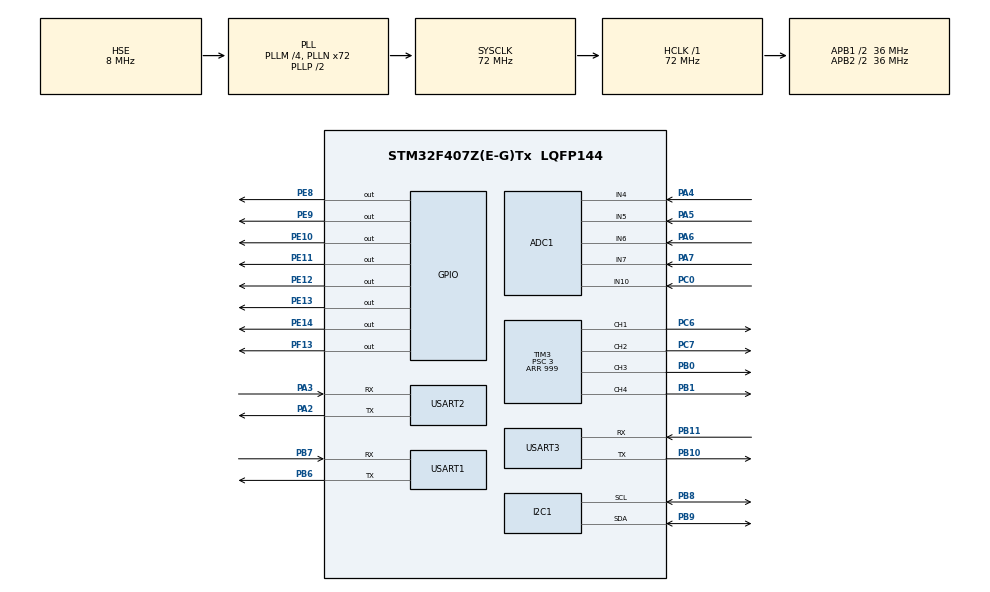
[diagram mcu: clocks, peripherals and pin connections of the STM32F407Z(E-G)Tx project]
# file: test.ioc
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ADC1.Channel-1\#ChannelRegularConversion=ADC_CHANNEL_4
ADC1.Channel-2\#ChannelRegularConversion=ADC_CHANNEL_5
ADC1.Channel-3\#ChannelRegularConversion=ADC_CHANNEL_6
ADC1.Channel-4\#ChannelRegularConversion=ADC_CHANNEL_7
ADC1.Channel-5\#ChannelRegularConversion=ADC_CHANNEL_10
ADC1.ClockPrescaler=ADC_CLOCK_SYNC_PCLK_DIV4
ADC1.ContinuousConvMode=ENABLE
ADC1.DMAContinuousRequests=ENABLE
ADC1.NbrOfConversion=5
ADC1.NbrOfConversionFlag=1
ADC1.Rank-1\#ChannelRegularConversion=1
ADC1.Rank-2\#ChannelRegularConversion=2
ADC1.Rank-3\#ChannelRegularConversion=3
ADC1.Rank-4\#ChannelRegularConversion=4
ADC1.Rank-5\#ChannelRegularConversion=5
ADC1.SamplingTime-1\#ChannelRegularConversion=ADC_SAMPLETIME_3CYCLES
ADC1.SamplingTime-2\#ChannelRegularConversion=ADC_SAMPLETIME_3CYCLES
ADC1.SamplingTime-3\#ChannelRegularConversion=ADC_SAMPLETIME_3CYCLES
ADC1.SamplingTime-4\#ChannelRegularConversion=ADC_SAMPLETIME_3CYCLES
ADC1.SamplingTime-5\#ChannelRegularConversion=ADC_SAMPLETIME_3CYCLES
ADC1.ScanConvMode=ENABLE
ADC1.master=1
Dma.ADC1.0.Direction=DMA_PERIPH_TO_MEMORY
Dma.ADC1.0.FIFOMode=DMA_FIFOMODE_ENABLE
Dma.ADC1.0.FIFOThreshold=DMA_FIFO_THRESHOLD_FULL
Dma.ADC1.0.Instance=DMA2_Stream0
Dma.ADC1.0.MemBurst=DMA_MBURST_SINGLE
Dma.ADC1.0.MemDataAlignment=DMA_MDATAALIGN_HALFWORD
Dma.ADC1.0.MemInc=DMA_MINC_ENABLE
Dma.ADC1.0.Mode=DMA_CIRCULAR
Dma.ADC1.0.PeriphBurst=DMA_PBURST_SINGLE
Dma.ADC1.0.PeriphDataAlignment=DMA_PDATAALIGN_HALFWORD
Dma.ADC1.0.PeriphInc=DMA_PINC_DISABLE
Dma.ADC1.0.Priority=DMA_PRIORITY_LOW
Dma.Request0=ADC1
Dma.Request1=USART1_RX
Dma.Request2=USART1_TX
Dma.Request3=USART3_RX
Dma.Request4=USART3_TX
Dma.Request5=USART2_RX
Dma.Request6=USART2_TX
Dma.USART1_RX.1.Direction=DMA_PERIPH_TO_MEMORY
Dma.USART1_RX.1.FIFOMode=DMA_FIFOMODE_DISABLE
Dma.USART1_RX.1.Instance=DMA2_Stream2
Dma.USART1_RX.1.MemDataAlignment=DMA_MDATAALIGN_BYTE
Dma.USART1_RX.1.MemInc=DMA_MINC_ENABLE
Dma.USART1_RX.1.Mode=DMA_NORMAL
Dma.USART1_RX.1.PeriphDataAlignment=DMA_PDATAALIGN_BYTE
Dma.USART1_RX.1.PeriphInc=DMA_PINC_DISABLE
Dma.USART1_RX.1.Priority=DMA_PRIORITY_LOW
Dma.USART1_TX.2.Direction=DMA_MEMORY_TO_PERIPH
Dma.USART1_TX.2.FIFOMode=DMA_FIFOMODE_DISABLE
Dma.USART1_TX.2.Instance=DMA2_Stream7
Dma.USART1_TX.2.MemDataAlignment=DMA_MDATAALIGN_BYTE
Dma.USART1_TX.2.MemInc=DMA_MINC_ENABLE
Dma.USART1_TX.2.Mode=DMA_NORMAL
Dma.USART1_TX.2.PeriphDataAlignment=DMA_PDATAALIGN_BYTE
Dma.USART1_TX.2.PeriphInc=DMA_PINC_DISABLE
Dma.USART1_TX.2.Priority=DMA_PRIORITY_LOW
Dma.USART2_RX.5.Direction=DMA_PERIPH_TO_MEMORY
Dma.USART2_RX.5.FIFOMode=DMA_FIFOMODE_DISABLE
Dma.USART2_RX.5.Instance=DMA1_Stream5
Dma.USART2_RX.5.MemDataAlignment=DMA_MDATAALIGN_BYTE
Dma.USART2_RX.5.MemInc=DMA_MINC_ENABLE
Dma.USART2_RX.5.Mode=DMA_NORMAL
Dma.USART2_RX.5.PeriphDataAlignment=DMA_PDATAALIGN_BYTE
Dma.USART2_RX.5.PeriphInc=DMA_PINC_DISABLE
Dma.USART2_RX.5.Priority=DMA_PRIORITY_LOW
Dma.USART2_TX.6.Direction=DMA_MEMORY_TO_PERIPH
Dma.USART2_TX.6.FIFOMode=DMA_FIFOMODE_DISABLE
Dma.USART2_TX.6.Instance=DMA1_Stream6
Dma.USART2_TX.6.MemDataAlignment=DMA_MDATAALIGN_BYTE
Dma.USART2_TX.6.MemInc=DMA_MINC_ENABLE
Dma.USART2_TX.6.Mode=DMA_NORMAL
Dma.USART2_TX.6.PeriphDataAlignment=DMA_PDATAALIGN_BYTE
Dma.USART2_TX.6.PeriphInc=DMA_PINC_DISABLE
Dma.USART2_TX.6.Priority=DMA_PRIORITY_LOW
Dma.USART3_RX.3.Direction=DMA_PERIPH_TO_MEMORY
Dma.USART3_RX.3.FIFOMode=DMA_FIFOMODE_DISABLE
Dma.USART3_RX.3.Instance=DMA1_Stream1
Dma.USART3_RX.3.MemDataAlignment=DMA_MDATAALIGN_BYTE
Dma.USART3_RX.3.MemInc=DMA_MINC_ENABLE
Dma.USART3_RX.3.Mode=DMA_NORMAL
Dma.USART3_RX.3.PeriphDataAlignment=DMA_PDATAALIGN_BYTE
Dma.USART3_RX.3.PeriphInc=DMA_PINC_DISABLE
Dma.USART3_RX.3.Priority=DMA_PRIORITY_LOW
Dma.USART3_TX.4.Direction=DMA_MEMORY_TO_PERIPH
Dma.USART3_TX.4.FIFOMode=DMA_FIFOMODE_DISABLE
Dma.USART3_TX.4.Instance=DMA1_Stream3
Dma.USART3_TX.4.MemDataAlignment=DMA_MDATAALIGN_BYTE
Dma.USART3_TX.4.MemInc=DMA_MINC_ENABLE
Dma.USART3_TX.4.Mode=DMA_NORMAL
Dma.USART3_TX.4.PeriphDataAlignment=DMA_PDATAALIGN_BYTE
Dma.USART3_TX.4.PeriphInc=DMA_PINC_DISABLE
Dma.USART3_TX.4.Priority=DMA_PRIORITY_LOW
Mcu.Family=STM32F4
Mcu.Name=STM32F407Z(E-G)Tx
Mcu.Package=LQFP144
NVIC.DMA1_Stream1_IRQn=true\:0\:0\:false\:false\:true\:false\:true\:true
NVIC.DMA1_Stream3_IRQn=true\:0\:0\:false\:false\:true\:false\:true\:true
NVIC.DMA1_Stream5_IRQn=true\:0\:0\:false\:false\:true\:false\:true\:true
NVIC.DMA1_Stream6_IRQn=true\:0\:0\:false\:false\:true\:false\:true\:true
NVIC.DMA2_Stream0_IRQn=true\:0\:0\:false\:false\:true\:false\:true\:true
NVIC.DMA2_Stream2_IRQn=true\:0\:0\:false\:false\:true\:false\:true\:true
NVIC.DMA2_Stream7_IRQn=true\:0\:0\:false\:false\:true\:false\:true\:true
NVIC.PriorityGroup=NVIC_PRIORITYGROUP_4
NVIC.TIM4_IRQn=true\:0\:0\:false\:false\:true\:true\:true\:true
PA1.Signal=S_TIM5_CH2
PA13.Mode=Serial_Wire
PA13.Signal=SYS_JTMS-SWDIO
PA14.Mode=Serial_Wire
PA14.Signal=SYS_JTCK-SWCLK
PA2.Mode=Asynchronous
PA2.Signal=USART2_TX
PA3.Mode=Asynchronous
PA3.Signal=USART2_RX
PA4.Signal=ADCx_IN4
PA5.Signal=ADCx_IN5
PA6.Signal=ADCx_IN6
PA7.Signal=ADCx_IN7
PB0.Signal=S_TIM3_CH3
PB1.Signal=S_TIM3_CH4
PB10.Mode=Asynchronous
PB10.Signal=USART3_TX
PB11.Mode=Asynchronous
PB11.Signal=USART3_RX
PB6.Mode=Asynchronous
PB6.Signal=USART1_TX
PB7.Mode=Asynchronous
PB7.Signal=USART1_RX
PB8.Mode=I2C
PB8.Signal=I2C1_SCL
PB9.Mode=I2C
PB9.Signal=I2C1_SDA
PC0.Signal=ADCx_IN10
PC6.Signal=S_TIM3_CH1
PC7.Signal=S_TIM3_CH2
PE10.Signal=GPIO_Output
PE11.Signal=GPIO_Output
PE12.Signal=GPIO_Output
PE13.Signal=GPIO_Output
PE14.Signal=GPIO_Output
PE8.Signal=GPIO_Output
PE9.Signal=GPIO_Output
PF13.Signal=GPIO_Output
PH0-OSC_IN.Mode=HSE-External-Oscillator
PH0-OSC_IN.Signal=RCC_OSC_IN
PH1-OSC_OUT.Mode=HSE-External-Oscillator
PH1-OSC_OUT.Signal=RCC_OSC_OUT
ProjectManager.HeapSize=0x200
ProjectManager.StackSize=0x400
ProjectManager.TargetToolchain=MDK-ARM V5.32
RCC.48MHZClocksFreq_Value=36000000
RCC.AHBFreq_Value=72000000
RCC.APB1CLKDivider=RCC_HCLK_DIV2
RCC.APB1Freq_Value=36000000
RCC.APB1TimFreq_Value=72000000
RCC.APB2CLKDivider=RCC_HCLK_DIV2
RCC.APB2Freq_Value=36000000
RCC.APB2TimFreq_Value=72000000
RCC.CortexFreq_Value=72000000
RCC.HCLKFreq_Value=72000000
RCC.HSE_VALUE=8000000
RCC.HSI_VALUE=16000000
RCC.LSE_VALUE=32768
RCC.PLLM=4
RCC.PLLN=72
RCC.PLLSourceVirtual=RCC_PLLSOURCE_HSE
RCC.SYSCLKFreq_VALUE=72000000
RCC.SYSCLKSource=RCC_SYSCLKSOURCE_PLLCLK
RCC.VCOOutputFreq_Value=144000000
SH.ADCx_IN10.0=ADC1_IN10,IN10
SH.ADCx_IN4.0=ADC1_IN4,IN4
SH.ADCx_IN5.0=ADC1_IN5,IN5
SH.ADCx_IN6.0=ADC1_IN6,IN6
SH.ADCx_IN7.0=ADC1_IN7,IN7
SH.S_TIM3_CH1.0=TIM3_CH1,PWM Generation1 CH1
SH.S_TIM3_CH2.0=TIM3_CH2,PWM Generation2 CH2
SH.S_TIM3_CH3.0=TIM3_CH3,PWM Generation3 CH3
SH.S_TIM3_CH4.0=TIM3_CH4,PWM Generation4 CH4
SH.S_TIM5_CH2.0=TIM5_CH2
TIM3.Channel-PWM\ Generation1\ CH1=TIM_CHANNEL_1
TIM3.Channel-PWM\ Generation2\ CH2=TIM_CHANNEL_2
TIM3.Channel-PWM\ Generation3\ CH3=TIM_CHANNEL_3
TIM3.Channel-PWM\ Generation4\ CH4=TIM_CHANNEL_4
TIM3.Period=999
TIM3.Prescaler=3
TIM4.Prescaler=7199
USART1.VirtualMode=VM_ASYNC
USART2.VirtualMode=VM_ASYNC
USART3.VirtualMode=VM_ASYNC
VP_TIM4_VS_ClockSourceINT.Mode=Internal
board=custom

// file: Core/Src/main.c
/* USER CODE BEGIN Header */
/**
  ******************************************************************************
  * @file           : main.c
  * @brief          : Main program body
  ******************************************************************************
  * @attention
  *
  * Copyright (c) 2025 STMicroelectronics.
  * All rights reserved.
  *
  * This software is licensed under terms that can be found in the LICENSE file
  * in the root directory of this software component.
  * If no LICENSE file comes with this software, it is provided AS-IS.
  *
  ******************************************************************************
  */
/* USER CODE END Header */
#include "main.h"
#include "adc.h"
#include "dma.h"
#include "i2c.h"
#include "tim.h"
#include "usart.h"
#include "gpio.h"

/* USER CODE BEGIN Includes */
#include <stdbool.h>
#include "motor.h"
#include "loop.h"
#include "track.h"
#include "communication.h"
extern int32_t system_running;
#define UART_BUFFER_SIZE 100
extern DMA_HandleTypeDef hdma_adc1;
extern TIM_HandleTypeDef htim4;
extern DMA_HandleTypeDef hdma_usart1_rx;
extern DMA_HandleTypeDef hdma_usart1_tx;
extern DMA_HandleTypeDef hdma_usart2_rx;
extern DMA_HandleTypeDef hdma_usart2_tx;
extern DMA_HandleTypeDef hdma_usart3_rx;
extern DMA_HandleTypeDef hdma_usart3_tx;
extern uint8_t uart1_rx_buffer[UART_BUFFER_SIZE];
extern uint16_t uart1_rx_index ;
extern bool uart1_data_ready ;
extern bool uart1_command_ready ;
extern bool uart1_connected ;
extern uint8_t uart2_rx_buffer[UART_BUFFER_SIZE];
extern uint16_t uart2_rx_index ;
extern bool uart2_data_ready ;
extern bool uart2_command_ready ;
extern bool uart2_connected ;
// 锟斤拷锟経SART3锟斤拷全锟街憋拷锟斤拷
extern uint8_t uart3_rx_buffer[UART_BUFFER_SIZE];
extern uint16_t uart3_rx_index;
extern bool uart3_data_ready;
extern bool uart3_command_ready;
extern bool uart3_connected;
// 系统锟斤拷锟斤拷状态锟斤拷锟?
extern uint8_t RxBuffer[10];
/* USER CODE END Includes */

/* USER CODE BEGIN PM */
void HAL_TIM_PeriodElapsedCallback(TIM_HandleTypeDef *htim)
{
  /* USER CODE BEGIN Callback 0 */
  if (htim->Instance == TIM4)
  {

    // ÿ10msִ��һ�εĴ���
    // �������������Ҫ��ʱִ�е�����
  }
  /* USER CODE END Callback 0 */
}
/* USER CODE END PM */

void SystemClock_Config(void);

int main(void)
{

    /* MCU Configuration--------------------------------------------------------*/

    /* Reset of all peripherals, Initializes the Flash interface and the Systick. */
    HAL_Init();

    /* Configure the system clock */
    SystemClock_Config();

    /* Initialize all configured peripherals */
    MX_GPIO_Init();
    MX_DMA_Init();
    MX_USART1_UART_Init();
    MX_ADC1_Init();
    MX_TIM3_Init();
    MX_USART2_UART_Init();
    MX_USART3_UART_Init();
    MX_I2C1_Init();
    MX_TIM4_Init();
    /* USER CODE BEGIN 2 */
    HAL_TIM_PWM_Start(&htim3,TIM_CHANNEL_1);
    HAL_TIM_PWM_Start(&htim3,TIM_CHANNEL_2);
    HAL_TIM_PWM_Start(&htim3,TIM_CHANNEL_3);
    HAL_TIM_PWM_Start(&htim3,TIM_CHANNEL_4);
    HAL_TIM_Base_Start_IT(&htim4);  // 启动TIM4定时器中断
    Track_Init();
    HAL_Delay(2000);
    /* USER CODE BEGIN 2 */
    // 初始化所有外设后，初始化通信
    USART1_InitCommunication();
    USART2_InitCommunication();
    USART3_InitCommunication();
    /* USER CODE END 2 */

    /* Infinite loop */
    while (1)
    {
        /* USER CODE BEGIN 3 */
        // 处理接收到的数据
        USART1_ProcessReceivedData();
        USART2_ProcessReceivedData();
        USART3_ProcessReceivedData();

        // 短暂延时，避免CPU占用过高
        HAL_Delay(10);
    }
    /* USER CODE END 3 */
}

void SystemClock_Config(void)
{
  RCC_OscInitTypeDef RCC_OscInitStruct = {0};
  RCC_ClkInitTypeDef RCC_ClkInitStruct = {0};

  /** Configure the main internal regulator output voltage
  */
  __HAL_RCC_PWR_CLK_ENABLE();
  __HAL_PWR_VOLTAGESCALING_CONFIG(PWR_REGULATOR_VOLTAGE_SCALE1);

  /** Initializes the RCC Oscillators according to the specified parameters
  * in the RCC_OscInitTypeDef structure.
  */
  RCC_OscInitStruct.OscillatorType = RCC_OSCILLATORTYPE_HSE;
  RCC_OscInitStruct.HSEState = RCC_HSE_ON;
  RCC_OscInitStruct.PLL.PLLState = RCC_PLL_ON;
  RCC_OscInitStruct.PLL.PLLSource = RCC_PLLSOURCE_HSE;
  RCC_OscInitStruct.PLL.PLLM = 4;
  RCC_OscInitStruct.PLL.PLLN = 72;
  RCC_OscInitStruct.PLL.PLLP = RCC_PLLP_DIV2;
  RCC_OscInitStruct.PLL.PLLQ = 4;
  if (HAL_RCC_OscConfig(&RCC_OscInitStruct) != HAL_OK)
  {
    Error_Handler();
  }

  /** Initializes the CPU, AHB and APB buses clocks
  */
  RCC_ClkInitStruct.ClockType = RCC_CLOCKTYPE_HCLK|RCC_CLOCKTYPE_SYSCLK
                              |RCC_CLOCKTYPE_PCLK1|RCC_CLOCKTYPE_PCLK2;
  RCC_ClkInitStruct.SYSCLKSource = RCC_SYSCLKSOURCE_PLLCLK;
  RCC_ClkInitStruct.AHBCLKDivider = RCC_SYSCLK_DIV1;
  RCC_ClkInitStruct.APB1CLKDivider = RCC_HCLK_DIV2;
  RCC_ClkInitStruct.APB2CLKDivider = RCC_HCLK_DIV2;

  if (HAL_RCC_ClockConfig(&RCC_ClkInitStruct, FLASH_LATENCY_2) != HAL_OK)
  {
    Error_Handler();
  }
}

/* USER CODE BEGIN 4 */
/**
 * @brief  UART Rx Event Callback
 * @param  huart: UART handle
 * @param  Size: 接收到的数据大小
 * @retval None
 */
void HAL_UARTEx_RxEventCallback(UART_HandleTypeDef *huart, uint16_t Size)
{
    if (huart->Instance == USART1) {
        // 设置数据准备好标志
        uart1_data_ready = true;
        uart1_rx_index = Size;

        // 重新启动接收
        HAL_UARTEx_ReceiveToIdle_DMA(&huart1, uart1_rx_buffer, UART_BUFFER_SIZE - 1);
    }
    else if (huart->Instance == USART2) {
        // 设置数据准备好标志
        uart2_data_ready = true;
        uart2_rx_index = Size;

        // 重新启动接收
        HAL_UARTEx_ReceiveToIdle_DMA(&huart2, uart2_rx_buffer, UART_BUFFER_SIZE - 1);
    }
    else if (huart->Instance == USART3) {
        // 设置数据准备好标志
        uart3_data_ready = true;
        uart3_rx_index = Size;

        // 重新启动接收
        HAL_UARTEx_ReceiveToIdle_DMA(&huart3, uart3_rx_buffer, UART_BUFFER_SIZE - 1);
    }
}

/**
 * @brief  UART接收错误回调函数
 * @param  huart: UART handle
 * @retval None
 */
void HAL_UART_ErrorCallback(UART_HandleTypeDef *huart)
{
    if (huart->Instance == USART1) {
        // 清除错误标志并重新启动接收
        __HAL_UART_CLEAR_OREFLAG(&huart1);
        HAL_UARTEx_ReceiveToIdle_DMA(&huart1, uart1_rx_buffer, UART_BUFFER_SIZE - 1);
    }
    else if (huart->Instance == USART2) {
        // 清除错误标志并重新启动接收
        __HAL_UART_CLEAR_OREFLAG(&huart2);
        HAL_UARTEx_ReceiveToIdle_DMA(&huart2, uart2_rx_buffer, UART_BUFFER_SIZE - 1);
    }
    else if (huart->Instance == USART3) {
        // 清除错误标志并重新启动接收
        __HAL_UART_CLEAR_OREFLAG(&huart3);
        HAL_UARTEx_ReceiveToIdle_DMA(&huart3, uart3_rx_buffer, UART_BUFFER_SIZE - 1);
    }
}
/* USER CODE END 4 */

void Error_Handler(void)
{
  __disable_irq();
  while (1)
  {
  }
}
